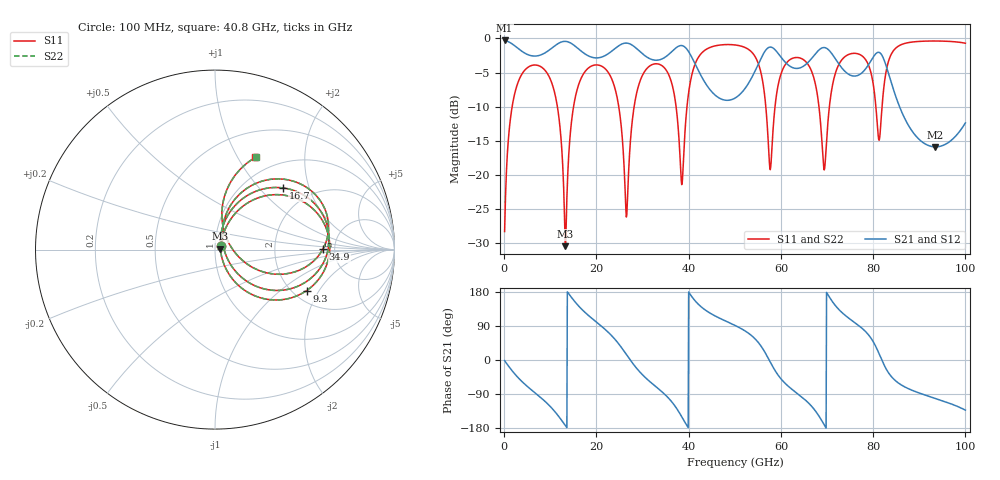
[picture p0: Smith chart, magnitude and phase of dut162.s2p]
! Touchstone file exported from HFSS 2026.1.0
!  File:  C:/ffzhzh/LocalFiles/Ansys_Project_Files/temp_train_TSV_RDL_162_1783648415_29156.aedt
!  Generated:  10:13:01 AM Jul 10, 2026
!  Design:  TSV_RDL
!  Project:  temp_train_TSV_RDL_162_1783648415_29156
! Variables:
!  h_bsmrdl = 2.83um
!  h_ox = 20um
!  h_rdl = 5um
!  h_sub = 60.56um
!  h_tmrdl = 2.5um
!  h_tsv = 60.56um
!  h_via = 3um
!  l_bsmrdl = 669.22um
!  l_sub = 4471.3um
!  l_tmrdl = 487.8um
!  m_sub = 200um
!  pitch = 58.86um
!  r_tsv = 10.03um
!  s_tmrdl = 10um
!  w_bsmrdl = 25.14um
!  w_sub = 500um
!  w_tmrdl = 12.34um
!  x_tsv_center1 = 493.97um
!  x_tsv_center2 = 1188.33um
!  x_tsv_center3 = 1688.47um
!  x_tsv_center4 = 2382.83um
!  x_tsv_center5 = 2882.97um
!  x_tsv_center6 = 3577.33um
# GHz S MA R 50.000000
! Terminal data exported
! Port[1] = TM_RDL1_1_T1
! Port[2] = TM_RDL5_1_T1
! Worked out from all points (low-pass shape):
!   1000 points, 100 MHz to 100 GHz, reference 50 ohm
!   highest |S21| = -0.29 dB at 100 MHz (marker M1); lowest = -15.9 dB at 93.5 GHz (marker M2)
!   |S21| within 3 dB of the highest: start of sweep to 41.09 GHz; 66.18 GHz to 72.11 GHz (5.931 GHz wide, 8.58 % of centre) (the widest 2 of 4)
!   lowest |S11| = -30.4 dB at 13.3 GHz (marker M3), VSWR 1.06, Z = 53.1 + j0.541 ohm
!   |S11| at or under -10 dB: 11.55 GHz to 15.04 GHz (3.495 GHz wide, 26.3 % of centre); 24.85 GHz to 28.17 GHz (3.321 GHz wide, 12.5 % of centre); 37.28 GHz to 39.64 GHz (2.357 GHz wide, 6.13 % of centre) (the widest 3 of 7)
!   |S22| runs from -30.4 to -0.4 dB; largest |S21 - S12| = 1.8e-11
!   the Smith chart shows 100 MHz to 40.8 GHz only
!   S11 on the Smith chart (normalised r, x): 100 MHz: 1.07, +0.04; 9.3 GHz: 2.35, -1.56; 16.7 GHz: 1.47, +1.37; 34.9 GHz: 4.02, +0.03; 40.8 GHz: 0.79, +1.19
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0.1  0.03863 31.0  0.9673 -1.8  0.9673 -1.8  0.03863 31.0
! Gamma 0 0 0 0
! Port Impedance 50 0 50 0
2.7  0.4447 43.4  0.8621 -42.3  0.8621 -42.3  0.4447 43.4
9.3  0.559 -24.2  0.8015 -114.1  0.8015 -114.1  0.5589 -24.1
13.3  0.03021 9.7  0.9525 -173.3  0.9525 -173.3  0.03029 9.7
16.7  0.5123 42.1  0.8084 135.4  0.8084 135.4  0.5123 42.1
16.8  0.5207 41.0  0.8035 134.2  0.8035 134.2  0.5208 41.0
23.4  0.4988 -24.6  0.8113 63.0  0.8113 63.0  0.4988 -24.6
26.7  0.06101 46.4  0.9244 11.2  0.9244 11.2  0.06088 46.5
33.4  0.6506 14.4  0.6948 -75.4  0.6948 -75.4  0.6507 14.4
34.9  0.6014 0.3  0.7293 -91.5  0.7293 -91.5  0.6014 0.3
38.5  0.08522 23.2  0.8877 -149.6  0.8877 -149.6  0.08607 23.2
40.8  0.5613 66.3  0.7158 165.3  0.7158 165.3  0.5614 66.3
50.1  0.8963 1.2  0.367 91.0  0.367 91.0  0.8963 1.2
57.7  0.1096 -2.9  0.865 -5.6  0.865 -5.6  0.1094 -2.9
60.6  0.6144 26.9  0.6909 -57.6  0.6909 -57.6  0.6142 26.9
66.7  0.571 -26.6  0.7172 -122.6  0.7172 -122.6  0.571 -26.5
69.4  0.1092 8.3  0.8584 -171.2  0.8584 -171.2  0.1108 8.5
73.5  0.7161 28.1  0.5928 122.3  0.5928 122.3  0.7163 28.0
79.8  0.5105 -24.0  0.7112 52.7  0.7112 52.7  0.5104 -24.1
83.4  0.6929 41.8  0.5452 -34.9  0.5452 -34.9  0.6926 41.9
93.5  0.9585 -11.7  0.161 -101.4  0.161 -101.4  0.9585 -11.6
100  0.9232 -38.5  0.2411 -132.3  0.2411 -132.3  0.9231 -38.5
